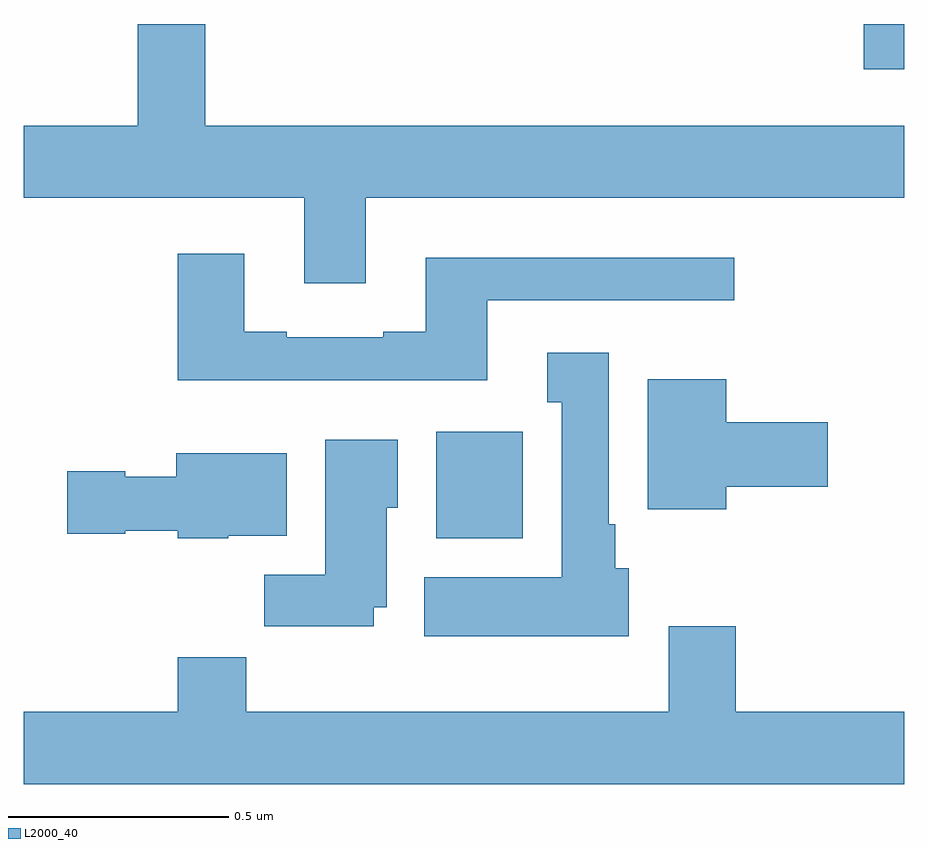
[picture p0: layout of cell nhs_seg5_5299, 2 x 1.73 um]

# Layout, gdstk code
import gdstk
lib = gdstk.Library(unit=1e-6, precision=1e-09)
def R(c, l, rs):  # rectangles x0, y0, x1, y1
    for r in rs: c.add(gdstk.rectangle(r[:2], r[2:], *l))
def P(c, l, *ps):  # polygons
    for p in ps: c.add(gdstk.Polygon(p, *l))
L2000_40 = (2000, 40)

nhs_seg5_5299 = lib.new_cell('nhs_seg5_5299')
R(nhs_seg5_5299, L2000_40, [(181.937,878.63,182.134,878.872), (182.908,879.696,183,879.799)])
P(nhs_seg5_5299, L2000_40, [(181.777,879.404),(183,879.404),(183,879.568),(181.412,879.568),(181.412,879.799),(181.259,879.799),(181.259,879.568),(181,879.568),(181,879.404),(181.637,879.404),(181.637,879.21),(181.777,879.21)],
  [(182.053,879.171),(182.614,879.171),(182.614,879.268),(181.913,879.268),(181.913,879.1),(181.817,879.1),(181.817,879.087),(181.597,879.087),(181.597,879.1),(181.501,879.1),(181.501,879.277),(181.349,879.277),(181.349,878.99),(182.053,878.99)],
  [(182.374,878.562),(182.344,878.562),(182.344,878.662),(182.329,878.662),(182.329,879.052),(182.189,879.052),(182.189,878.939),(182.222,878.939),(182.222,878.542),(181.91,878.542),(181.91,878.408),(182.374,878.408)],
  [(182.596,878.747),(182.827,878.747),(182.827,878.894),(182.596,878.894),(182.596,878.992),(182.417,878.992),(182.417,878.696),(182.596,878.696)],
  [(181.795,878.474),(181.825,878.474),(181.825,878.7),(181.849,878.7),(181.849,878.854),(181.685,878.854),(181.685,878.548),(181.546,878.548),(181.546,878.43),(181.795,878.43)],
  [(181.464,878.636),(181.597,878.636),(181.597,878.824),(181.346,878.824),(181.346,878.77),(181.23,878.77),(181.23,878.783),(181.098,878.783),(181.098,878.641),(181.23,878.641),(181.23,878.648),(181.35,878.648),(181.35,878.63),(181.464,878.63)],
  [(183,878.236),(182.618,878.236),(182.618,878.431),(182.465,878.431),(182.465,878.236),(181.505,878.236),(181.505,878.36),(181.349,878.36),(181.349,878.236),(181,878.236),(181,878.072),(183,878.072)])

lib.write_gds('nhs_seg5_5299.gds')
